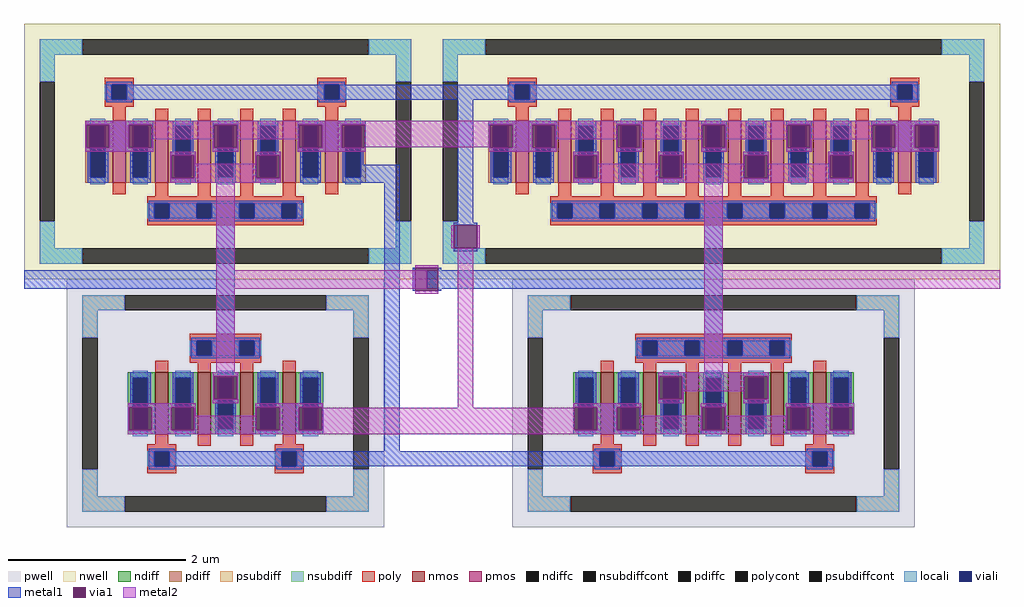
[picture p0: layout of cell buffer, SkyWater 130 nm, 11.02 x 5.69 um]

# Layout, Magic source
magic
tech sky130A
magscale 1 2
<< metal1 >>
rect 724 966 1096 1000
rect 766 779 848 819
rect 814 172 848 779
rect 980 688 1014 966
rect 971 682 1023 688
rect 971 624 1023 630
rect 878 534 884 586
rect 936 534 942 586
rect 628 138 1288 172
<< via1 >>
rect 971 630 1023 682
rect 884 534 936 586
<< metal2 >>
rect 772 859 1049 919
rect 965 630 971 682
rect 1023 630 1029 682
rect 884 586 936 592
rect 878 539 884 581
rect 884 528 936 534
rect 980 270 1014 630
rect 676 210 1240 270
use simple2_inv  simple2_inv_0
transform 1 0 952 0 1 613
box -42 -613 1252 525
use simple_inv  simple_inv_0
transform 1 0 53 0 1 613
box -53 -613 857 525
<< end >>

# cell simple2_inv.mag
magic
tech sky130A
magscale 1 2
<< metal1 >>
rect 584 -32 626 85
rect -42 -74 626 -32
rect 584 -191 626 -74
<< metal2 >>
rect 584 -32 626 166
rect 584 -74 1252 -32
rect 584 -263 626 -74
use sinv2_n  sky130_fd_pr__nfet_01v8_GVQ53W_0
transform 1 0 605 0 1 -333
box -455 -280 455 280
use sinv2_p  sky130_fd_pr__pfet_01v8_BDAGKN_0
transform 1 0 605 0 1 236
box -647 -289 647 289
<< end >>

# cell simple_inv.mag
magic
tech sky130A
magscale 1 2
<< metal1 >>
rect 381 -32 423 79
rect -53 -74 423 -32
rect 381 -185 423 -74
<< metal2 >>
rect 381 -32 423 166
rect 381 -74 857 -32
rect 381 -263 423 -74
use sinv_n  sky130_fd_pr__nfet_01v8_2AA63J_0
transform 1 0 402 0 1 -333
box -359 -280 359 280
use sinv_p  sky130_fd_pr__pfet_01v8_X6FFBL_0
transform 1 0 402 0 1 236
box -455 -289 455 289
<< end >>

# cell sinv_n: kit device sky130_fd_pr__nfet_01v8, w 0.7 l 0.150 m 1 nf 4 diffcov 100 polycov 100 guard 1 glc 1 grc 1 gtc 1 gbc 1 tbcov 100 rlcov 100 topc 1 botc 1 poverlap 0 doverlap 1 lmin 0.15 wmin 0.42 compatible {sky130_fd_pr__nfet_01v8 sky130_fd_pr__nfet_01v8_lvt sky130_fd_bs_flash__special_sonosfet_star sky130_fd_pr__nfet_g5v0d10v5 sky130_fd_pr__nfet_05v0_nvt sky130_fd_pr__nfet_03v3_nvt} full_metal 1 viasrc 100 viadrn 100 viagate 100 viagb 0 viagr 0 viagl 0 viagt 0

# cell sinv_p: kit device sky130_fd_pr__pfet_01v8, w 0.7 l 0.15 m 1 nf 6 diffcov 100 polycov 100 guard 1 glc 1 grc 1 gtc 1 gbc 1 tbcov 100 rlcov 100 topc 1 botc 1 poverlap 0 doverlap 1 lmin 0.15 wmin 0.42 compatible {sky130_fd_pr__pfet_01v8 sky130_fd_pr__pfet_01v8_lvt sky130_fd_pr__pfet_01v8_hvt sky130_fd_pr__pfet_g5v0d10v5} full_metal 1 viasrc 100 viadrn 100 viagate 100 viagb 0 viagr 0 viagl 0 viagt 0

# cell sinv2_n: kit device sky130_fd_pr__nfet_01v8, w 0.7 l 0.150 m 1 nf 6 diffcov 100 polycov 100 guard 1 glc 1 grc 1 gtc 1 gbc 1 tbcov 100 rlcov 100 topc 1 botc 1 poverlap 0 doverlap 1 lmin 0.15 wmin 0.42 compatible {sky130_fd_pr__nfet_01v8 sky130_fd_pr__nfet_01v8_lvt sky130_fd_bs_flash__special_sonosfet_star sky130_fd_pr__nfet_g5v0d10v5 sky130_fd_pr__nfet_05v0_nvt sky130_fd_pr__nfet_03v3_nvt} full_metal 1 viasrc 100 viadrn 100 viagate 100 viagb 0 viagr 0 viagl 0 viagt 0

# cell sinv2_p: kit device sky130_fd_pr__pfet_01v8, w 0.7 l 0.15 m 1 nf 10 diffcov 100 polycov 100 guard 1 glc 1 grc 1 gtc 1 gbc 1 tbcov 100 rlcov 100 topc 1 botc 1 poverlap 0 doverlap 1 lmin 0.15 wmin 0.42 compatible {sky130_fd_pr__pfet_01v8 sky130_fd_pr__pfet_01v8_lvt sky130_fd_pr__pfet_01v8_hvt sky130_fd_pr__pfet_g5v0d10v5} full_metal 1 viasrc 100 viadrn 100 viagate 100 viagb 0 viagr 0 viagl 0 viagt 0
